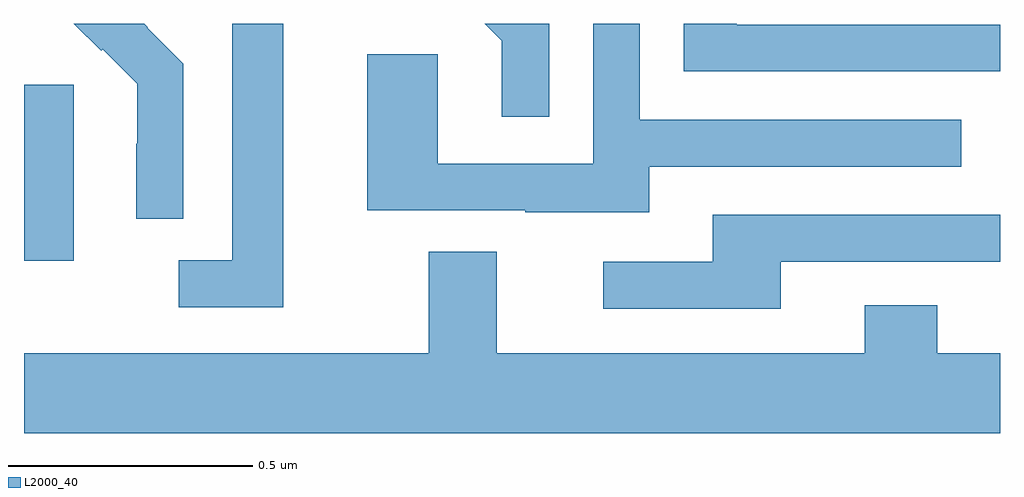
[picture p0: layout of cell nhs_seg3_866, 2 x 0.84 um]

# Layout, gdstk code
import gdstk
lib = gdstk.Library(unit=1e-6, precision=1e-09)
def R(c, l, rs):  # rectangles x0, y0, x1, y1
    for r in rs: c.add(gdstk.rectangle(r[:2], r[2:], *l))
def P(c, l, *ps):  # polygons
    for p in ps: c.add(gdstk.Polygon(p, *l))
L2000_40 = (2000, 40)

nhs_seg3_866 = lib.new_cell('nhs_seg3_866')
R(nhs_seg3_866, L2000_40, [(121,723.914,121.102,724.275)])
P(nhs_seg3_866, L2000_40, [(122.281,724.107),(122.921,724.107),(122.921,724.203),(122.262,724.203),(122.262,724.4),(122.166,724.4),(122.166,724.113),(121.848,724.113),(121.848,724.337),(121.703,724.337),(121.703,724.017),(122.027,724.017),(122.027,724.013),(122.281,724.013)],
  [(121.326,724.318),(121.253,724.391),(121.254,724.392),(121.246,724.4),(121.102,724.4),(121.158,724.344),(121.161,724.347),(121.232,724.277),(121.232,724.154),(121.23,724.154),(121.23,724),(121.326,724)],
  [(123,724.398),(122.461,724.398),(122.461,724.4),(122.352,724.4),(122.352,724.302),(123,724.302)],
  [(121.531,724.4),(121.427,724.4),(121.427,723.915),(121.317,723.915),(121.317,723.819),(121.531,723.819)],
  [(122.076,724.4),(121.944,724.4),(121.979,724.365),(121.979,724.209),(122.076,724.209)],
  [(122.551,723.912),(123,723.912),(123,724.008),(122.411,724.008),(122.411,723.912),(122.187,723.912),(122.187,723.816),(122.551,723.816)],
  [(123,723.724),(122.871,723.724),(122.871,723.823),(122.723,723.823),(122.723,723.724),(121.969,723.724),(121.969,723.932),(121.829,723.932),(121.829,723.724),(121,723.724),(121,723.56),(123,723.56)])

lib.write_gds('nhs_seg3_866.gds')
